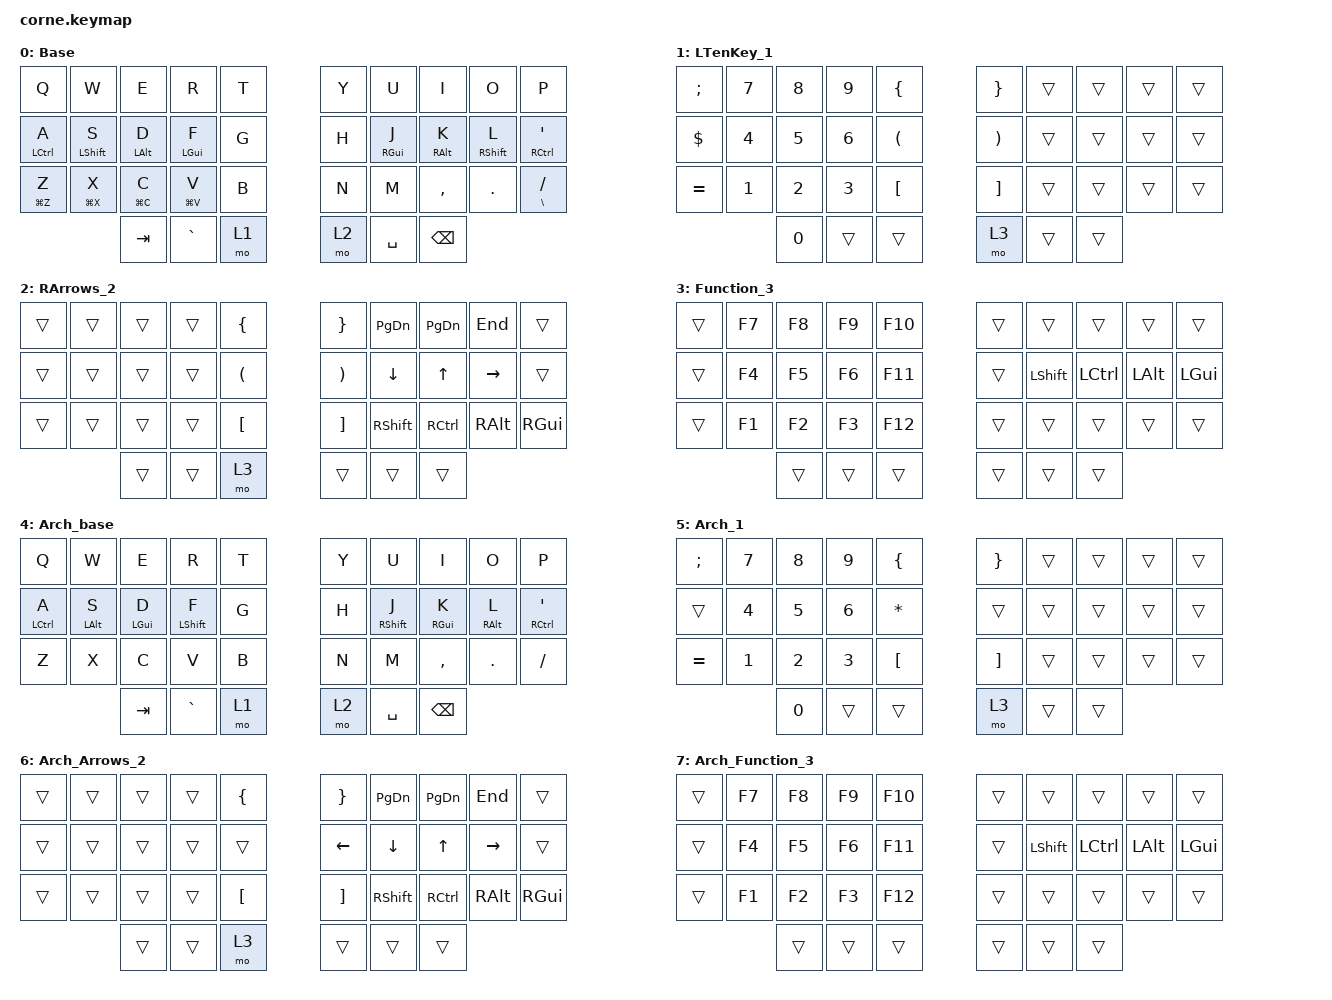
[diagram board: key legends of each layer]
/*
 * Copyright (c) 2020 The ZMK Contributors
 *
 * SPDX-License-Identifier: MIT
 */

#include <dt-bindings/zmk/mouse.h>
#include <behaviors.dtsi>
#include <dt-bindings/zmk/keys.h>

#define AS(keycode) &as LS(keycode) keycode

/ {
    chosen { zmk,matrix_transform = &five_column_transform; };

    combos {
        compatible = "zmk,combos";

        ent_combo {
            bindings = <&kp ENTER>;
            key-positions = <17 18>;
            timeout-ms = <200>;
            require-prior-idle-ms = <100>;
        };

        bcsp {
            bindings = <&kp BACKSPACE>;
            key-positions = <28 27>;
            timeout-ms = <400>;
            require-prior-idle-ms = <100>;
        };

        equals {
            bindings = <&kp EQUAL>;
            key-positions = <14 15>;
            timeout-ms = <400>;
            require-prior-idle-ms = <100>;
            layers = <0 1 2>;
        };

        minus {
            bindings = <&kp MINUS>;
            key-positions = <3 6>;
            timeout-ms = <400>;
            require-prior-idle-ms = <100>;
        };

        underscore {
            bindings = <&kp LS(MINUS)>;
            key-positions = <40 45 26 23>;
            timeout-ms = <400>;
            require-prior-idle-ms = <100>;
        };

        esc {
            bindings = <&kp ESCAPE>;
            key-positions = <16 17>;
            timeout-ms = <50>;
            require-prior-idle-ms = <100>;
        };

        semicolon {
            bindings = <&kp SEMICOLON>;
            key-positions = <18 19>;
        };

        tmuxmod {
            bindings = <&kp LC(SPACE)>;
            key-positions = <11 12>;
        };

        aerospacemod {
            bindings = <&kp LA(LS(SEMI))>;
            key-positions = <21 22>;
        };

        tab {
            bindings = <&kp TAB>;
            key-positions = <1 2>;
        };

        backslash {
            bindings = <&kp BACKSLASH>;
            key-positions = <7 8>;
        };
    };

    behaviors {
        hml: hml {
            compatible = "zmk,behavior-hold-tap";
            label = "HML";
            bindings = <&kp>, <&kp>;

            #binding-cells = <2>;
            tapping-term-ms = <269>;
            quick-tap-ms = <175>;
            flavor = "balanced";
            hold-trigger-key-positions = <0 1 2 3 4 5 12 13 14 15 16 17 24 25 26 27 28 29 36 37 38 39 40 41 42 50 51 52 53>;
            hold-trigger-on-release;
            require-prior-idle-ms = <111>;
        };

        hmr: hmr {
            compatible = "zmk,behavior-hold-tap";
            label = "HMR";
            bindings = <&kp>, <&kp>;

            #binding-cells = <2>;
            tapping-term-ms = <269>;
            quick-tap-ms = <175>;
            flavor = "balanced";
            hold-trigger-on-release;
            hold-trigger-key-positions = <6 7 8 9 10 11 18 19 20 21 22 23 30 31 32 33 34 35 43 44 45 46 47 48 49 54 55 56 57>;
            require-prior-idle-ms = <111>;
        };
    };

    macros {
        venv: venv {
            compatible = "zmk,behavior-macro";
            #binding-cells = <0>;
            bindings = <&kp O &kp H &kp SPACE &kp H &kp O &kp W &kp SPACE &kp T &kp H &kp E &kp SPACE &kp T &kp U &kp R &kp N &kp SPACE &kp T &kp A &kp B &kp L &kp E &kp S &kp ENTER>;
            label = "VENV";
            wait-ms = <40>;
            tap-ms = <40>;
        };

        venv_sys: venv_sys {
            compatible = "zmk,behavior-macro";
            #binding-cells = <0>;
            bindings = <&kp D &kp E &kp V &kp I &kp L &kp MINUS &kp B &kp L &kp O &kp O &kp D &kp MINUS &kp C &kp O &kp N &kp T &kp R &kp A &kp C &kp T &kp MINUS &kp F &kp I &kp G &kp H &kp T &kp RETURN>;
            label = "VENV_SYS";
        };
    };

    keymap {
        compatible = "zmk,keymap";

        Base {
            display-name = "Base";
            bindings = <
  &kp Q                &kp W              &kp E            &kp R         &kp T    &kp Y  &kp U        &kp I             &kp O         &kp P
  &hml LEFT_CONTROL A  &hmr LEFT_SHIFT S  &hml LEFT_ALT D  &hml LGUI F   &kp G    &kp H  &hmr RGUI J  &hml RIGHT_ALT K  &hmr RSHFT L  &hmr RIGHT_CONTROL SQT
  &hml LG(Z) Z         &hml LG(X) X       &hml LG(C) C     &hml LG(V) V  &kp B    &kp N  &kp M        &kp COMMA         &kp PERIOD    &hmr BACKSLASH SLASH
                                          &kp TAB          &kp GRAVE     &mo 1    &mo 2  &kp SPACE    &kp BACKSPACE
            >;
        };

        layer_1 {
            bindings = <
  &kp SEMICOLON  &kp N7  &kp N8  &kp N9  &kp LEFT_BRACE          &kp RIGHT_BRACE        &trans  &trans  &trans  &trans
  &kp DOLLAR     &kp N4  &kp N5  &kp N6  &kp LEFT_PARENTHESIS    &kp RIGHT_PARENTHESIS  &trans  &trans  &trans  &trans
  &kp EQUAL      &kp N1  &kp N2  &kp N3  &kp LEFT_BRACKET        &kp RIGHT_BRACKET      &trans  &trans  &trans  &trans
                         &kp N0  &trans  &trans                  &mo 3                  &trans  &trans
            >;

            label = "LTenKey_1";
        };

        layer_2 {
            label = "RArrows_2";
            bindings = <
  &trans  &trans  &trans  &trans  &kp LEFT_BRACE          &kp RIGHT_BRACE    &kp PAGE_DOWN    &kp PG_DN          &kp END    &trans
  &trans  &trans  &trans  &trans  &kp LEFT_PARENTHESIS    &kp RPAR           &kp DOWN         &kp UP_ARROW       &kp RIGHT  &trans
  &trans  &trans  &trans  &trans  &kp LEFT_BRACKET        &kp RIGHT_BRACKET  &kp RIGHT_SHIFT  &kp RIGHT_CONTROL  &kp RALT   &kp RGUI
                  &trans  &trans  &mo 3                   &trans             &trans           &trans
            >;
        };

        layer_3 {
            bindings = <
  &trans  &kp F7  &kp F8  &kp F9  &kp F10    &trans  &trans     &trans     &trans    &trans
  &trans  &kp F4  &kp F5  &kp F6  &kp F11    &trans  &kp LSHFT  &kp LCTRL  &kp LALT  &kp LGUI
  &trans  &kp F1  &kp F2  &kp F3  &kp F12    &trans  &trans     &trans     &trans    &trans
                  &trans  &trans  &trans     &trans  &trans     &trans
            >;

            label = "Function_3";
        };

        layer_4 {
            display-name = "Arch_base";
            bindings = <
  &kp Q                &kp W            &kp E            &kp R         &kp T    &kp Y  &kp U               &kp I             &kp O             &kp P
  &hml LEFT_CONTROL A  &hmr LEFT_ALT S  &hml LEFT_GUI D  &hml LSHFT F  &kp G    &kp H  &hmr RIGHT_SHIFT J  &hml RIGHT_GUI K  &hmr RIGHT_ALT L  &hmr RIGHT_CONTROL SQT
  &kp Z                &kp X            &kp C            &kp V         &kp B    &kp N  &kp M               &kp COMMA         &kp PERIOD        &kp SLASH
                                        &kp TAB          &kp GRAVE     &mo 1    &mo 2  &kp SPACE           &kp BACKSPACE
            >;
        };

        layer_5 {
            label = "Arch_1";
            bindings = <
  &kp SEMICOLON  &kp N7  &kp N8  &kp N9  &kp LEFT_BRACE      &kp RIGHT_BRACE    &trans  &trans  &trans  &trans
  &trans         &kp N4  &kp N5  &kp N6  &kp ASTERISK        &trans             &trans  &trans  &trans  &trans
  &kp EQUAL      &kp N1  &kp N2  &kp N3  &kp LEFT_BRACKET    &kp RIGHT_BRACKET  &trans  &trans  &trans  &trans
                         &kp N0  &trans  &trans              &mo 3              &trans  &trans
            >;
        };

        layer_6 {
            label = "Arch_Arrows_2";
            bindings = <
  &trans  &trans  &trans  &trans  &kp LEFT_BRACE      &kp RIGHT_BRACE    &kp PAGE_DOWN    &kp PG_DN          &kp END    &trans
  &trans  &trans  &trans  &trans  &trans              &kp LEFT_ARROW     &kp DOWN         &kp UP_ARROW       &kp RIGHT  &trans
  &trans  &trans  &trans  &trans  &kp LEFT_BRACKET    &kp RIGHT_BRACKET  &kp RIGHT_SHIFT  &kp RIGHT_CONTROL  &kp RALT   &kp RGUI
                  &trans  &trans  &mo 3               &trans             &trans           &trans
            >;
        };

        layer_7 {
            label = "Arch_Function_3";
            bindings = <
  &trans  &kp F7  &kp F8  &kp F9  &kp F10    &trans  &trans     &trans     &trans    &trans
  &trans  &kp F4  &kp F5  &kp F6  &kp F11    &trans  &kp LSHFT  &kp LCTRL  &kp LALT  &kp LGUI
  &trans  &kp F1  &kp F2  &kp F3  &kp F12    &trans  &trans     &trans     &trans    &trans
                  &trans  &trans  &trans     &trans  &trans     &trans
            >;
        };
    };

    conditional_layers { compatible = "zmk,conditional-layers"; };
};
